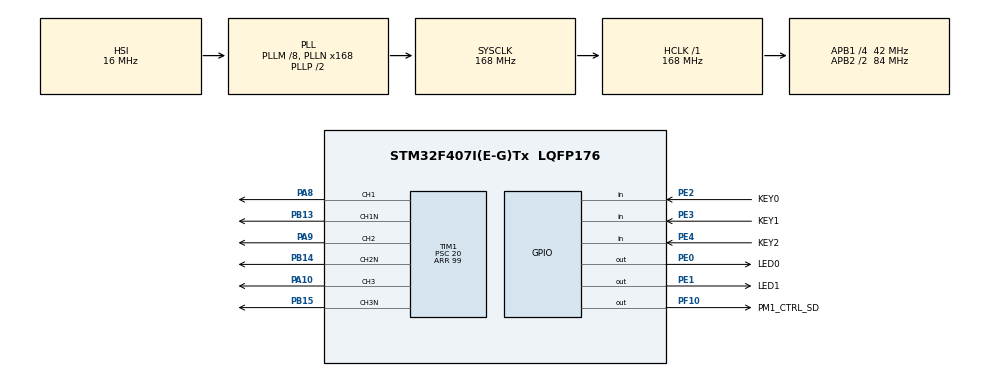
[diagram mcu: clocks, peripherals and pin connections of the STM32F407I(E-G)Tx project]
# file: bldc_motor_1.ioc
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Mcu.Family=STM32F4
Mcu.Name=STM32F407I(E-G)Tx
Mcu.Package=LQFP176
NVIC.PriorityGroup=NVIC_PRIORITYGROUP_4
NVIC.TIM2_IRQn=true\:0\:0\:false\:false\:true\:true\:true\:true
PA10.Signal=S_TIM1_CH3
PA13.Mode=Serial_Wire
PA13.Signal=SYS_JTMS-SWDIO
PA14.Mode=Serial_Wire
PA14.Signal=SYS_JTCK-SWCLK
PA8.Signal=S_TIM1_CH1
PA9.Signal=S_TIM1_CH2
PB13.Mode=PWM Generation1 CH1 CH1N
PB13.Signal=TIM1_CH1N
PB14.Mode=PWM Generation2 CH2 CH2N
PB14.Signal=TIM1_CH2N
PB15.Mode=PWM Generation3 CH3 CH3N
PB15.Signal=TIM1_CH3N
PE0.GPIO_Label=LED0
PE0.PinState=GPIO_PIN_SET
PE0.Signal=GPIO_Output
PE1.GPIO_Label=LED1
PE1.PinState=GPIO_PIN_SET
PE1.Signal=GPIO_Output
PE2.GPIO_Label=KEY0
PE2.GPIO_PuPd=GPIO_PULLUP
PE2.Signal=GPIO_Input
PE3.GPIO_Label=KEY1
PE3.GPIO_PuPd=GPIO_PULLUP
PE3.Signal=GPIO_Input
PE4.GPIO_Label=KEY2
PE4.GPIO_PuPd=GPIO_PULLUP
PE4.Signal=GPIO_Input
PF10.GPIO_Label=PM1_CTRL_SD
PF10.Signal=GPIO_Output
PH0-OSC_IN.Mode=HSE-External-Oscillator
PH0-OSC_IN.Signal=RCC_OSC_IN
PH1-OSC_OUT.Mode=HSE-External-Oscillator
PH1-OSC_OUT.Signal=RCC_OSC_OUT
ProjectManager.HeapSize=0x200
ProjectManager.StackSize=0x400
ProjectManager.TargetToolchain=MDK-ARM V5.32
RCC.48MHZClocksFreq_Value=84000000
RCC.AHBFreq_Value=168000000
RCC.APB1CLKDivider=RCC_HCLK_DIV4
RCC.APB1Freq_Value=42000000
RCC.APB1TimFreq_Value=84000000
RCC.APB2CLKDivider=RCC_HCLK_DIV2
RCC.APB2Freq_Value=84000000
RCC.APB2TimFreq_Value=168000000
RCC.CortexFreq_Value=168000000
RCC.HCLKFreq_Value=168000000
RCC.HSE_VALUE=25000000
RCC.HSI_VALUE=16000000
RCC.LSE_VALUE=32768
RCC.PLLM=8
RCC.PLLN=168
RCC.SYSCLKFreq_VALUE=168000000
RCC.SYSCLKSource=RCC_SYSCLKSOURCE_PLLCLK
RCC.VCOOutputFreq_Value=336000000
SH.S_TIM1_CH1.0=TIM1_CH1,PWM Generation1 CH1 CH1N
SH.S_TIM1_CH2.0=TIM1_CH2,PWM Generation2 CH2 CH2N
SH.S_TIM1_CH3.0=TIM1_CH3,PWM Generation3 CH3 CH3N
TIM1.AutoReloadPreload=TIM_AUTORELOAD_PRELOAD_ENABLE
TIM1.Channel-PWM\ Generation1\ CH1\ CH1N=TIM_CHANNEL_1
TIM1.Channel-PWM\ Generation2\ CH2\ CH2N=TIM_CHANNEL_2
TIM1.Channel-PWM\ Generation3\ CH3\ CH3N=TIM_CHANNEL_3
TIM1.DeadTime=7
TIM1.Period=99
TIM1.Prescaler=20
TIM2.Period=999
TIM2.Prescaler=83
VP_TIM2_VS_ClockSourceINT.Mode=Internal
board=custom

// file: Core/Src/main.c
/* USER CODE BEGIN Header */
/**
 ******************************************************************************
 * @file           : main.c
 * @brief          : Main program body
 ******************************************************************************
 * @attention
 *
 * Copyright (c) 2025 STMicroelectronics.
 * All rights reserved.
 *
 * This software is licensed under terms that can be found in the LICENSE file
 * in the root directory of this software component.
 * If no LICENSE file comes with this software, it is provided AS-IS.
 *
 ******************************************************************************
 */
/* USER CODE END Header */
#include "main.h"
#include "tim.h"
#include "gpio.h"

/* USER CODE BEGIN Includes */
#include "key_led.h"
#include "bldc_motor.h"
/* USER CODE END Includes */

void SystemClock_Config(void);

int main(void)
{

  /* MCU Configuration--------------------------------------------------------*/

  /* Reset of all peripherals, Initializes the Flash interface and the Systick. */
  HAL_Init();

  /* Configure the system clock */
  SystemClock_Config();

  /* Initialize all configured peripherals */
  MX_GPIO_Init();
  MX_TIM1_Init();
  MX_TIM2_Init();
  /* USER CODE BEGIN 2 */
  Key_Init();
  Led_Init();
  BLDC_Init(&htim1); //初始化bldc的驱动，htim

  //启动tim2定时中断（每1ms一次）
  HAL_TIM_Base_Start_IT(&htim2);

  /* USER CODE END 2 */

  /* Infinite loop */
  /* USER CODE BEGIN WHILE */
  uint8_t key_value = 0;
  uint8_t bldc_running = 0; //记录bldc是否处于连续转动状态

  while (1)
  {
    key_value = Key_Scan(); // 获取按键状态
    if (key_value == KEY0_Pressed)
    {
      Led_Toggle(LED0_Pin);
      // 正向单步换相60°
      BLDC_SetState(BLDC_STEP, BLDC_CW);
    }
    else if (key_value == KEY1_Pressed)
    {
      Led_Toggle(LED1_Pin);
      // 反向单步换相60°
      BLDC_SetState(BLDC_STEP, BLDC_CCW);
    }
		// 连续转动
    else if (key_value == KEY2_Pressed)
    {
      Led_Toggle(LED0_Pin);
      Led_Toggle(LED1_Pin);
      if(!bldc_running){
        BLDC_SetState(BLDC_RUN, BLDC_GetDir());
        bldc_running = 1;
      }else{
        BLDC_SetState(BLDC_STOPPED, BLDC_GetDir());
        bldc_running = 0;
      }
    }
    /* USER CODE END WHILE */

  }
}

void SystemClock_Config(void)
{
  RCC_OscInitTypeDef RCC_OscInitStruct = {0};
  RCC_ClkInitTypeDef RCC_ClkInitStruct = {0};

  /** Configure the main internal regulator output voltage
  */
  __HAL_RCC_PWR_CLK_ENABLE();
  __HAL_PWR_VOLTAGESCALING_CONFIG(PWR_REGULATOR_VOLTAGE_SCALE1);

  /** Initializes the RCC Oscillators according to the specified parameters
  * in the RCC_OscInitTypeDef structure.
  */
  RCC_OscInitStruct.OscillatorType = RCC_OSCILLATORTYPE_HSI;
  RCC_OscInitStruct.HSIState = RCC_HSI_ON;
  RCC_OscInitStruct.HSICalibrationValue = RCC_HSICALIBRATION_DEFAULT;
  RCC_OscInitStruct.PLL.PLLState = RCC_PLL_ON;
  RCC_OscInitStruct.PLL.PLLSource = RCC_PLLSOURCE_HSI;
  RCC_OscInitStruct.PLL.PLLM = 8;
  RCC_OscInitStruct.PLL.PLLN = 168;
  RCC_OscInitStruct.PLL.PLLP = RCC_PLLP_DIV2;
  RCC_OscInitStruct.PLL.PLLQ = 4;
  if (HAL_RCC_OscConfig(&RCC_OscInitStruct) != HAL_OK)
  {
    Error_Handler();
  }

  /** Initializes the CPU, AHB and APB buses clocks
  */
  RCC_ClkInitStruct.ClockType = RCC_CLOCKTYPE_HCLK|RCC_CLOCKTYPE_SYSCLK
                              |RCC_CLOCKTYPE_PCLK1|RCC_CLOCKTYPE_PCLK2;
  RCC_ClkInitStruct.SYSCLKSource = RCC_SYSCLKSOURCE_PLLCLK;
  RCC_ClkInitStruct.AHBCLKDivider = RCC_SYSCLK_DIV1;
  RCC_ClkInitStruct.APB1CLKDivider = RCC_HCLK_DIV4;
  RCC_ClkInitStruct.APB2CLKDivider = RCC_HCLK_DIV2;

  if (HAL_RCC_ClockConfig(&RCC_ClkInitStruct, FLASH_LATENCY_5) != HAL_OK)
  {
    Error_Handler();
  }
}

void Error_Handler(void)
{
  __disable_irq();
  while (1)
  {
  }
}
